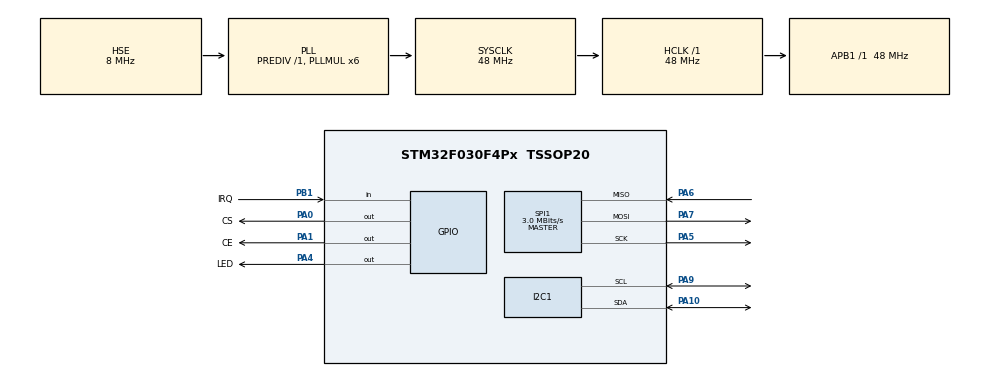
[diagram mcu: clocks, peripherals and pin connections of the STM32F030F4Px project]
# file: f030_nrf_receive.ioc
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Mcu.Family=STM32F0
Mcu.Name=STM32F030F4Px
Mcu.Package=TSSOP20
PA0.GPIO_Label=CS
PA0.GPIO_ModeDefaultOutputPP=GPIO_MODE_OUTPUT_PP
PA0.GPIO_PuPd=GPIO_NOPULL
PA0.GPIO_Speed=GPIO_SPEED_FREQ_LOW
PA0.PinState=GPIO_PIN_RESET
PA0.Signal=GPIO_Output
PA1.GPIO_Label=CE
PA1.GPIO_ModeDefaultOutputPP=GPIO_MODE_OUTPUT_PP
PA1.GPIO_PuPd=GPIO_NOPULL
PA1.GPIO_Speed=GPIO_SPEED_FREQ_LOW
PA1.PinState=GPIO_PIN_RESET
PA1.Signal=GPIO_Output
PA10.Mode=I2C
PA10.Signal=I2C1_SDA
PA13.Mode=Serial_Wire
PA13.Signal=SYS_SWDIO
PA14.Mode=Serial_Wire
PA14.Signal=SYS_SWCLK
PA4.GPIO_Label=LED
PA4.GPIO_ModeDefaultOutputPP=GPIO_MODE_OUTPUT_PP
PA4.GPIO_PuPd=GPIO_NOPULL
PA4.GPIO_Speed=GPIO_SPEED_FREQ_LOW
PA4.PinState=GPIO_PIN_RESET
PA4.Signal=GPIO_Output
PA5.Mode=Full_Duplex_Master
PA5.Signal=SPI1_SCK
PA6.Mode=Full_Duplex_Master
PA6.Signal=SPI1_MISO
PA7.Mode=Full_Duplex_Master
PA7.Signal=SPI1_MOSI
PA9.Mode=I2C
PA9.Signal=I2C1_SCL
PB1.GPIO_Label=IRQ
PB1.GPIO_Mode=GPIO_MODE_INPUT
PB1.GPIO_PuPd=GPIO_NOPULL
PB1.Signal=GPIO_Input
PF0-OSC_IN.Mode=HSE-External-Oscillator
PF0-OSC_IN.Signal=RCC_OSC_IN
PF1-OSC_OUT.Mode=HSE-External-Oscillator
PF1-OSC_OUT.Signal=RCC_OSC_OUT
ProjectManager.HeapSize=0x200
ProjectManager.StackSize=0x400
ProjectManager.TargetToolchain=STM32CubeIDE
RCC.AHBFreq_Value=48000000
RCC.APB1Freq_Value=48000000
RCC.APB1TimFreq_Value=48000000
RCC.HCLKFreq_Value=48000000
RCC.PLLMUL=RCC_PLL_MUL6
RCC.PLLSourceVirtual=RCC_PLLSOURCE_HSE
RCC.SYSCLKFreq_VALUE=48000000
RCC.SYSCLKSource=RCC_SYSCLKSOURCE_PLLCLK
SPI1.BaudRatePrescaler=SPI_BAUDRATEPRESCALER_16
SPI1.CalculateBaudRate=3.0 MBits/s
SPI1.DataSize=SPI_DATASIZE_8BIT
SPI1.Direction=SPI_DIRECTION_2LINES
SPI1.Mode=SPI_MODE_MASTER
SPI1.VirtualType=VM_MASTER
board=custom

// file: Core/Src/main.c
/* USER CODE BEGIN Header */
/**
 ******************************************************************************
 * @file           : main.c
 * @brief          : Main program body
 ******************************************************************************
 * @attention
 *
 * <h2><center>&copy; Copyright (c) 2020 STMicroelectronics.
 * All rights reserved.</center></h2>
 *
 * This software component is licensed by ST under BSD 3-Clause license,
 * the "License"; You may not use this file except in compliance with the
 * License. You may obtain a copy of the License at:
 *                        opensource.org/licenses/BSD-3-Clause
 *
 ******************************************************************************
 */
/* USER CODE END Header */

#include "main.h"

/* USER CODE BEGIN Includes */
#include "lcd_i2c.h"
#include <string.h>
#include "NRF24.h"
#include <stdio.h>
#include <stdbool.h>
/* USER CODE END Includes */

I2C_HandleTypeDef hi2c1;

SPI_HandleTypeDef hspi1;

/* USER CODE BEGIN PV */
char str1[] = "                ";
uint8_t pos0 = 0;
uint8_t pos1 = 0;
bool line = true;
uint8_t buf1[20] = { 0 };
/* USER CODE END PV */

void SystemClock_Config(void);
static void MX_GPIO_Init(void);
static void MX_I2C1_Init(void);
static void MX_SPI1_Init(void);

int main(void)
{
	/* USER CODE BEGIN 1 */
	char data1[17] = { ' ' };
	char data_old[17] = { 0 };
	/* USER CODE END 1 */

	/* MCU Configuration--------------------------------------------------------*/

	/* Reset of all peripherals, Initializes the Flash interface and the Systick. */
	HAL_Init();

	/* Configure the system clock */
	SystemClock_Config();

	/* Initialize all configured peripherals */
	MX_GPIO_Init();
	MX_I2C1_Init();
	MX_SPI1_Init();
	/* USER CODE BEGIN 2 */
	LCD_ini();
	LCD_Clear();
	NRF24_ini();
	/* USER CODE END 2 */

	/* Infinite loop */
	while (1)
	{

		/* USER CODE BEGIN 3 */
		uint8_t *data = NRF24_Receive(500);
		strncpy(data1, data, 16);
		data1[16] = 0;
		if (data != NULL)
		{
			if (strcmp(data_old, data1) == 0)
			{
				sprintf(str1, "connection");
				LCD_SetPos(0, 1);
				LCD_String(str1);
			}
			else
			{
				LCD_SetPos(0, 0);
				LCD_String(data1);
				sprintf(str1, "connection");
				LCD_SetPos(0, 1);
				LCD_String(str1);
				strncpy(data_old, data1, 17);
			}
		}
		else
		{
			sprintf(str1, "no connection");
			LCD_SetPos(0, 1);
			LCD_String(str1);
		}
	}
	/* USER CODE END 3 */
}

void SystemClock_Config(void)
{
	RCC_OscInitTypeDef RCC_OscInitStruct = { 0 };
	RCC_ClkInitTypeDef RCC_ClkInitStruct = { 0 };
	RCC_PeriphCLKInitTypeDef PeriphClkInit = { 0 };

	/** Initializes the CPU, AHB and APB busses clocks
	 */
	RCC_OscInitStruct.OscillatorType = RCC_OSCILLATORTYPE_HSI | RCC_OSCILLATORTYPE_HSE;
	RCC_OscInitStruct.HSEState = RCC_HSE_ON;
	RCC_OscInitStruct.HSIState = RCC_HSI_ON;
	RCC_OscInitStruct.HSICalibrationValue = RCC_HSICALIBRATION_DEFAULT;
	RCC_OscInitStruct.PLL.PLLState = RCC_PLL_ON;
	RCC_OscInitStruct.PLL.PLLSource = RCC_PLLSOURCE_HSE;
	RCC_OscInitStruct.PLL.PLLMUL = RCC_PLL_MUL6;
	RCC_OscInitStruct.PLL.PREDIV = RCC_PREDIV_DIV1;
	if (HAL_RCC_OscConfig(&RCC_OscInitStruct) != HAL_OK)
	{
		Error_Handler();
	}
	/** Initializes the CPU, AHB and APB busses clocks
	 */
	RCC_ClkInitStruct.ClockType = RCC_CLOCKTYPE_HCLK | RCC_CLOCKTYPE_SYSCLK | RCC_CLOCKTYPE_PCLK1;
	RCC_ClkInitStruct.SYSCLKSource = RCC_SYSCLKSOURCE_PLLCLK;
	RCC_ClkInitStruct.AHBCLKDivider = RCC_SYSCLK_DIV1;
	RCC_ClkInitStruct.APB1CLKDivider = RCC_HCLK_DIV1;

	if (HAL_RCC_ClockConfig(&RCC_ClkInitStruct, FLASH_LATENCY_1) != HAL_OK)
	{
		Error_Handler();
	}
	PeriphClkInit.PeriphClockSelection = RCC_PERIPHCLK_I2C1;
	PeriphClkInit.I2c1ClockSelection = RCC_I2C1CLKSOURCE_HSI;
	if (HAL_RCCEx_PeriphCLKConfig(&PeriphClkInit) != HAL_OK)
	{
		Error_Handler();
	}
}

static void MX_I2C1_Init(void)
{

	hi2c1.Instance = I2C1;
	hi2c1.Init.Timing = 0x2000090E;
	hi2c1.Init.OwnAddress1 = 0;
	hi2c1.Init.AddressingMode = I2C_ADDRESSINGMODE_7BIT;
	hi2c1.Init.DualAddressMode = I2C_DUALADDRESS_DISABLE;
	hi2c1.Init.OwnAddress2 = 0;
	hi2c1.Init.OwnAddress2Masks = I2C_OA2_NOMASK;
	hi2c1.Init.GeneralCallMode = I2C_GENERALCALL_DISABLE;
	hi2c1.Init.NoStretchMode = I2C_NOSTRETCH_DISABLE;
	if (HAL_I2C_Init(&hi2c1) != HAL_OK)
	{
		Error_Handler();
	}
	/** Configure Analogue filter
	 */
	if (HAL_I2CEx_ConfigAnalogFilter(&hi2c1, I2C_ANALOGFILTER_ENABLE) != HAL_OK)
	{
		Error_Handler();
	}
	/** Configure Digital filter
	 */
	if (HAL_I2CEx_ConfigDigitalFilter(&hi2c1, 0) != HAL_OK)
	{
		Error_Handler();
	}

}

static void MX_SPI1_Init(void)
{

	/* SPI1 parameter configuration*/
	hspi1.Instance = SPI1;
	hspi1.Init.Mode = SPI_MODE_MASTER;
	hspi1.Init.Direction = SPI_DIRECTION_2LINES;
	hspi1.Init.DataSize = SPI_DATASIZE_8BIT;
	hspi1.Init.CLKPolarity = SPI_POLARITY_LOW;
	hspi1.Init.CLKPhase = SPI_PHASE_1EDGE;
	hspi1.Init.NSS = SPI_NSS_SOFT;
	hspi1.Init.BaudRatePrescaler = SPI_BAUDRATEPRESCALER_16;
	hspi1.Init.FirstBit = SPI_FIRSTBIT_MSB;
	hspi1.Init.TIMode = SPI_TIMODE_DISABLE;
	hspi1.Init.CRCCalculation = SPI_CRCCALCULATION_DISABLE;
	hspi1.Init.CRCPolynomial = 7;
	hspi1.Init.CRCLength = SPI_CRC_LENGTH_DATASIZE;
	hspi1.Init.NSSPMode = SPI_NSS_PULSE_ENABLE;
	if (HAL_SPI_Init(&hspi1) != HAL_OK)
	{
		Error_Handler();
	}

}

static void MX_GPIO_Init(void)
{
	GPIO_InitTypeDef GPIO_InitStruct = { 0 };

	/* GPIO Ports Clock Enable */
	__HAL_RCC_GPIOF_CLK_ENABLE();
	__HAL_RCC_GPIOA_CLK_ENABLE();
	__HAL_RCC_GPIOB_CLK_ENABLE();

	/*Configure GPIO pin Output Level */
	HAL_GPIO_WritePin(GPIOA, CS_Pin | CE_Pin | LED_Pin, GPIO_PIN_RESET);

	/*Configure GPIO pins : CS_Pin CE_Pin LED_Pin */
	GPIO_InitStruct.Pin = CS_Pin | CE_Pin | LED_Pin;
	GPIO_InitStruct.Mode = GPIO_MODE_OUTPUT_PP;
	GPIO_InitStruct.Pull = GPIO_NOPULL;
	GPIO_InitStruct.Speed = GPIO_SPEED_FREQ_LOW;
	HAL_GPIO_Init(GPIOA, &GPIO_InitStruct);

	/*Configure GPIO pin : IRQ_Pin */
	GPIO_InitStruct.Pin = IRQ_Pin;
	GPIO_InitStruct.Mode = GPIO_MODE_INPUT;
	GPIO_InitStruct.Pull = GPIO_NOPULL;
	HAL_GPIO_Init(IRQ_GPIO_Port, &GPIO_InitStruct);

}

void Error_Handler(void)
{
}

/************************ (C) COPYRIGHT STMicroelectronics *****END OF FILE****/
